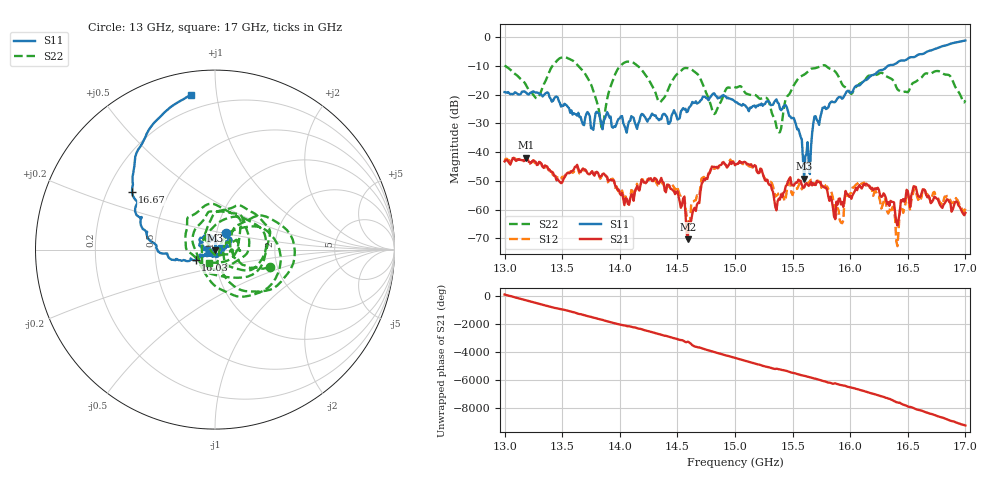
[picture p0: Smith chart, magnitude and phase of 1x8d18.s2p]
!Keysight Technologies,P9374A,MY57211807,A.19.30.04
!Date: Friday, May 08, 2026 15:18:32
!Correction: S11(C  2-Port  )
!S21(C  2-Port  )
!S12(C  2-Port  )
!S22(C  2-Port  )
!S2P File: Measurements: S11, S21, S12, S22:
# Hz S  dB  R 50
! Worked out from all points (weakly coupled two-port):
!   401 points, 13 GHz to 17 GHz, reference 50 ohm
!   highest |S21| = -41.92 dB at 13.19 GHz (marker M1); lowest = -70.3 dB at 14.59 GHz (marker M2)
!   lowest |S11| = -49.2 dB at 15.6 GHz (marker M3), VSWR 1.01, Z = 50.1 - j0.318 ohm
!   |S11| at or under -10 dB: start of sweep to 16.33 GHz
!   |S22| runs from -33.1 to -7.0 dB; largest |S21 - S12| = 0.0012
!   S11 on the Smith chart (normalised r, x): 13 GHz: 1.10, +0.21; 16.03 GHz: 0.80, -0.10; 16.67 GHz: 0.31, +0.29; 17 GHz: 0.12, +0.85
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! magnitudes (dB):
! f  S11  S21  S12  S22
! 13 GHz  -19.1  -43.2  -43.0  -9.9
! 13.19 GHz  -19.4  -41.9  -41.9  -17.0
! 13.29 GHz  -19.4  -44.3  -44.2  -21.2
! 13.5 GHz  -23.8  -50.5  -48.6  -7.1
! 13.67 GHz  -29.3  -46.2  -46.4  -11.3
! 13.85 GHz  -32.1  -47.7  -47.7  -31.7
! 14.05 GHz  -31.9  -56.0  -55.4  -8.7
! 14.34 GHz  -28.9  -51.0  -51.4  -22.6
! 14.59 GHz  -25.9  -70.3  -65.7  -10.8
! 14.82 GHz  -19.6  -45.1  -45.8  -26.8
! 15 GHz  -22.4  -44.6  -43.9  -17.5
! 15.27 GHz  -22.5  -50.0  -49.6  -21.1
! 15.38 GHz  -23.1  -56.2  -54.2  -33.1
! 15.6 GHz  -49.2  -52.3  -52.2  -13.1
! 15.67 GHz  -33.3  -51.6  -49.7  -10.9
! 15.92 GHz  -21.0  -58.2  -64.5  -15.6
! 16.03 GHz  -18.2  -54.3  -52.3  -18.6
! 16.34 GHz  -9.8  -58.7  -60.5  -14.2
! 16.41 GHz  -8.8  -65.5  -72.7  -18.2
! 16.49 GHz  -7.8  -53.1  -54.7  -19.1
! 16.67 GHz  -5.0  -55.7  -54.6  -12.7
! 17 GHz  -1.2  -61.1  -59.7  -22.0
